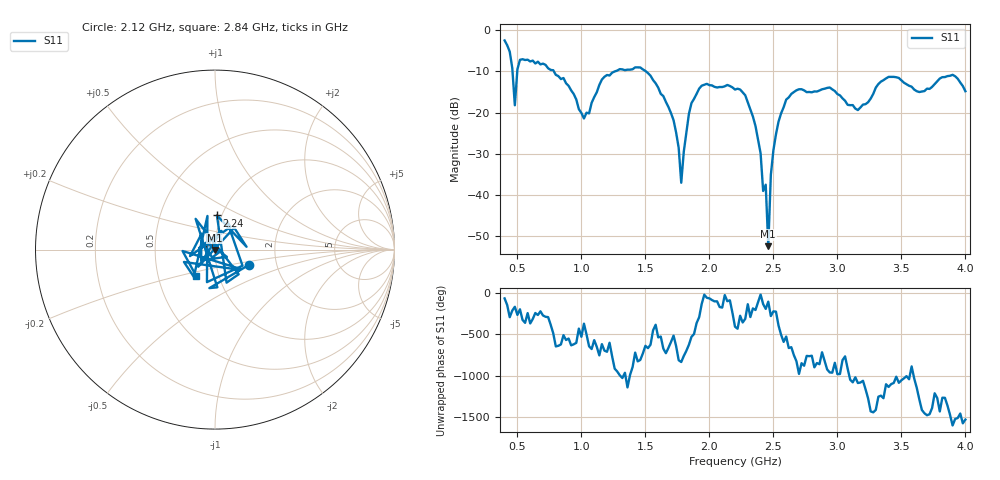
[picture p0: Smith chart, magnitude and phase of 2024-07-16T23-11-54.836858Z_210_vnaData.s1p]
!Created with skrf (http://scikit-rf.org).
# Hz S RI R 50.0
!freq ReS11 ImS11
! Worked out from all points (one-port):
!   181 points, 400 MHz to 4 GHz, reference 50 ohm
!   lowest |S11| = -52.5 dB at 2.46 GHz (marker M1), VSWR 1.00, Z = 49.9 - j0.229 ohm
!   |S11| at or under -10 dB: 461.8 MHz to 498.8 MHz (36.97 MHz wide, 7.7 % of centre); 785.4 MHz to 1.26 GHz (474.2 MHz wide, 46.4 % of centre); 1.505 GHz to end of sweep
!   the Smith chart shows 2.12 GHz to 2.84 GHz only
!   S11 on the Smith chart (normalised r, x): 2.12 GHz: 1.45, -0.25; 2.24 GHz: 0.95, +0.38; 2.84 GHz: 0.78, -0.23
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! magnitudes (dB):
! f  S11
! 400 MHz  -2.4
! 440 MHz  -5.2
! 480 MHz  -18.2
! 520 MHz  -7.2
! 860 MHz  -11.6
! 1.02 GHz  -21.4
! 1.3 GHz  -9.4
! 1.54 GHz  -11.0
! 1.7 GHz  -20.1
! 1.76 GHz  -28.6
! 1.78 GHz  -37.1
! 1.86 GHz  -17.7
! 2.12 GHz  -13.6
! 2.2 GHz  -14.4
! 2.24 GHz  -14.4
! 2.4 GHz  -29.9
! 2.42 GHz  -39.1
! 2.44 GHz  -37.6
! 2.46 GHz  -52.5
! 2.48 GHz  -35.2
! 2.52 GHz  -25.3
! 2.66 GHz  -15.0
! 2.84 GHz  -14.9
! 3.1 GHz  -18.2
! 3.4 GHz  -11.3
! 3.56 GHz  -13.5
! 3.9 GHz  -10.8
! 4 GHz  -14.8
